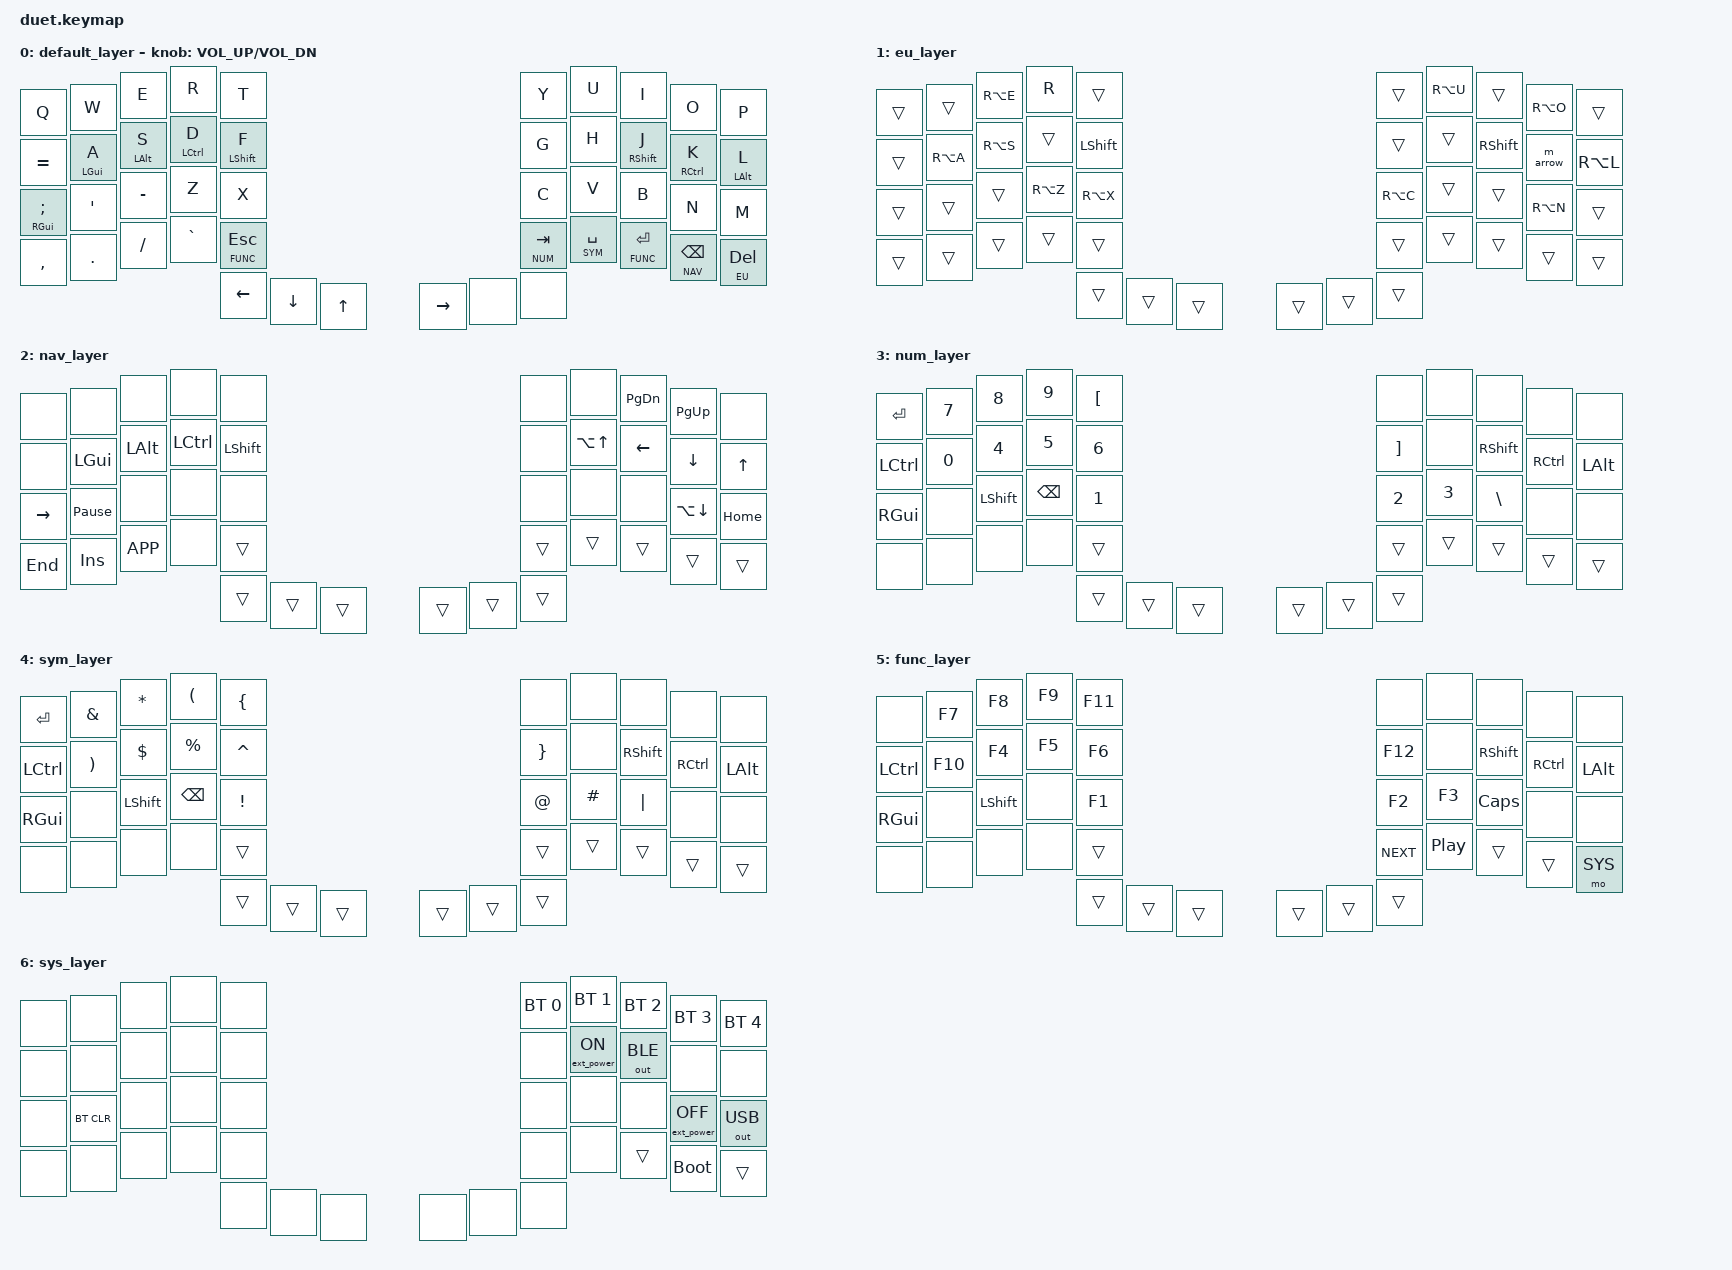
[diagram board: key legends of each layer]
/*
 * Copyright (c) 2020 The ZMK Contributors
 *
 * SPDX-License-Identifier: MIT
 */

#include <behaviors.dtsi>
#include <dt-bindings/zmk/keys.h>
#include <dt-bindings/zmk/bt.h>
#include <dt-bindings/zmk/outputs.h>
#include <dt-bindings/zmk/ext_power.h>

#define QWERTY 0
#define EU 1
#define NAV 2
#define NUM 3
#define SYM 4
#define FUNC 5
#define SYS 6

#define KEYS_L 0 1 2 3 4 30 10 11 12 13 14 31 20 21 22 23 24  // left-hand keys
#define KEYS_R 5 6 7 8 9 15 16 17 18 19 39 25 26 27 28 29 38  // right-hand keys
#define THUMBS 32 33 34 35 36 37

&lt {
    tapping-term-ms = <150>;
};

&mt {
    tapping-term-ms = <150>;
};

&encoder {
    status = "okay";
};

/ {
    chosen { zmk,physical-layout = &default_layout; };
    behaviors {
        hsl: homerow_shift_l {
            compatible = "zmk,behavior-hold-tap";
            #binding-cells = <2>;
            tapping-term-ms = <140>;
            quick-tap-ms = <0>;
            require-prior-idle-ms = <30>;
            flavor = "tap-preferred";
            bindings = <&kp>, <&kp>;
        };
        hsr: homerow_shift_r {
            compatible = "zmk,behavior-hold-tap";
            #binding-cells = <2>;
            tapping-term-ms = <140>;
            quick-tap-ms = <0>;
            require-prior-idle-ms = <30>;
            flavor = "tap-preferred";
            bindings = <&kp>, <&kp>;
        };
        hcl: homerow_ctrl_l {
            compatible = "zmk,behavior-hold-tap";
            #binding-cells = <2>;
            tapping-term-ms = <200>;
            quick-tap-ms = <0>;
            require-prior-idle-ms = <30>;
            flavor = "balanced";
            bindings = <&kp>, <&kp>;
            hold-trigger-key-positions = <KEYS_R THUMBS>;
            hold-trigger-on-release;
        };
        hcr: homerow_ctrl_r {
            compatible = "zmk,behavior-hold-tap";
            #binding-cells = <2>;
            tapping-term-ms = <200>;
            quick-tap-ms = <0>;
            require-prior-idle-ms = <30>;
            flavor = "balanced";
            bindings = <&kp>, <&kp>;
            hold-trigger-key-positions = <KEYS_L THUMBS>;
            hold-trigger-on-release;
        };
        hml: homerow_mods_l {
            compatible = "zmk,behavior-hold-tap";
            #binding-cells = <2>;
            tapping-term-ms = <250>;
            quick-tap-ms = <0>;
            require-prior-idle-ms = <50>;
            flavor = "balanced";
            bindings = <&kp>, <&kp>;
            hold-trigger-key-positions = <KEYS_R THUMBS>;
            hold-trigger-on-release;
        };
        hmr: homerow_mods_r {
            compatible = "zmk,behavior-hold-tap";
            #binding-cells = <2>;
            tapping-term-ms = <250>;
            quick-tap-ms = <0>;
            require-prior-idle-ms = <50>;
            flavor = "balanced";
            bindings = <&kp>, <&kp>;
            hold-trigger-key-positions = <KEYS_L THUMBS>;
            hold-trigger-on-release;
        };
    };

    macros {
        m_arrow: m_arrow {
            compatible = "zmk,behavior-macro";
            #binding-cells = <0>;
            bindings = <&kp EQUAL &kp GT>;
        };
    };

    combos {
        compatible = "zmk,combos";
        combo_caps_word {
            timeout-ms = <50>;
            key-positions = <14 17>;
            bindings = <&caps_word>;
            layers = <0>;
        };
    };

    keymap {
        compatible = "zmk,keymap";

        default_layer {
            bindings = <
                           &kp Q        &kp W        &kp E         &kp R         &kp T            &kp Y      &kp U         &kp I         &kp O        &kp P
                &kp EQUAL  &hml LGUI A  &hml LALT S  &hcl LCTRL D  &hsl LSHFT F  &kp G            &kp H      &hsr RSHFT J  &hcr RCTRL K  &hmr LALT L  &hmr RGUI SEMI  &kp SQT
                &kp MINUS  &kp Z        &kp X        &kp C         &kp V         &kp B            &kp N      &kp M         &kp COMMA     &kp DOT      &kp SLASH       &kp GRAVE
                                                 &lt FUNC ESC  &lt NUM TAB  &lt SYM SPACE      &lt FUNC ENTER  &lt NAV BSPC  &lt EU DEL
                &kp LEFT  &kp DOWN  &kp UP  &kp RIGHT  &none                                                                        &none
            >;

            sensor-bindings = <&inc_dec_kp C_VOL_UP C_VOL_DN>;
        };

        eu_layer {
            bindings = <
                          &trans       &trans      &kp RA(E)    &kp R        &trans            &trans       &kp RA(U)    &trans      &kp RA(O)    &trans 
                &trans    &kp RA(A)    &kp RA(S)   &trans       &kp LSHFT    &trans            &trans       &kp RSHFT    &m_arrow    &kp RA(L)    &trans       &trans
                &trans    &kp RA(Z)    &kp RA(X)   &kp RA(C)    &trans       &trans            &kp RA(N)    &trans       &trans      &trans       &trans       &trans
                                                        &trans     &trans     &trans        &trans      &trans     &trans
                &trans  &trans  &trans  &trans  &trans                                                                               &trans
            >;
        };

        nav_layer {
            bindings = <
                          &none       &none        &none        &none        &none            &none         &none        &kp PG_DN    &kp PG_UP    &none
                &none     &kp LGUI    &kp LALT     &kp LCTRL    &kp LSHFT    &none            &kp LA(UP)    &kp LEFT     &kp DOWN     &kp UP       &kp RIGHT    &kp PAUSE_BREAK
                &none     &none       &none        &none        &none        &none            &kp LA(DOWN)  &kp HOME     &kp END      &kp INS      &kp K_APP    &none
                                                        &trans     &trans     &trans        &trans      &trans     &trans
                &trans  &trans  &trans  &trans  &trans                                                                                &trans
            >;
        };

        num_layer {
            bindings = <
                            &kp ENTER  &kp N7      &kp N8      &kp N9      &kp LBKT           &none        &none        &none        &none        &none
                &kp LCTRL   &kp N0     &kp N4      &kp N5      &kp N6      &kp RBKT           &none        &kp RSHFT    &kp RCTRL    &kp LALT     &kp RGUI     &none
                &kp LSHFT   &kp BSPC   &kp N1      &kp N2      &kp N3      &kp BSLH           &none        &none        &none        &none        &none        &none
                                                         &trans     &trans     &trans       &trans      &trans     &trans
                &trans  &trans  &trans  &trans  &trans                                                                               &trans
            >;
        };

        sym_layer {
            bindings = <
                            &kp ENTER  &kp AMPS    &kp STAR    &kp LPAR    &kp LBRC           &none        &none        &none        &none        &none
                &kp LCTRL   &kp RPAR   &kp DLLR    &kp PRCNT   &kp CARET   &kp RBRC           &none        &kp RSHFT    &kp RCTRL    &kp LALT     &kp RGUI    &none
                &kp LSHFT   &kp BSPC   &kp EXCL    &kp AT      &kp HASH    &kp PIPE           &none        &none        &none        &none        &none       &none
                                                         &trans     &trans     &trans       &trans      &trans     &trans
                &trans  &trans  &trans  &trans  &trans                                                                                &trans
            >;
        };

        func_layer {
            bindings = <
                           &none       &kp F7      &kp F8      &kp F9      &kp F11             &none        &none        &none        &none        &none
                &kp LCTRL  &kp F10     &kp F4      &kp F5      &kp F6      &kp F12             &none        &kp RSHFT    &kp RCTRL    &kp LALT     &kp RGUI    &none
                &kp LSHFT  &none       &kp F1      &kp F2      &kp F3      &kp CAPS            &none        &none        &none        &none        &none       &none
                                                    &trans     &kp C_NEXT     &kp C_PP       &trans      &trans     &mo SYS
                &trans  &trans  &trans  &trans  &trans                                                                                &trans
            >;
        };

        sys_layer {
            bindings = <
                          &none     &none     &none     &none     &none           &bt BT_SEL 0       &bt BT_SEL 1  &bt BT_SEL 2  &bt BT_SEL 3  &bt BT_SEL 4
                &none     &none     &none     &none     &none     &none           &ext_power EP_ON   &out OUT_BLE  &none         &none         &none           &bt BT_CLR
                &none     &none     &none     &none     &none     &none           &ext_power EP_OFF  &out OUT_USB  &none         &none         &none           &none
                                                &none     &none     &none       &trans      &bootloader     &trans
                &none  &none  &none  &none  &none                                                                                              &none
            >;
        };

    };
};
